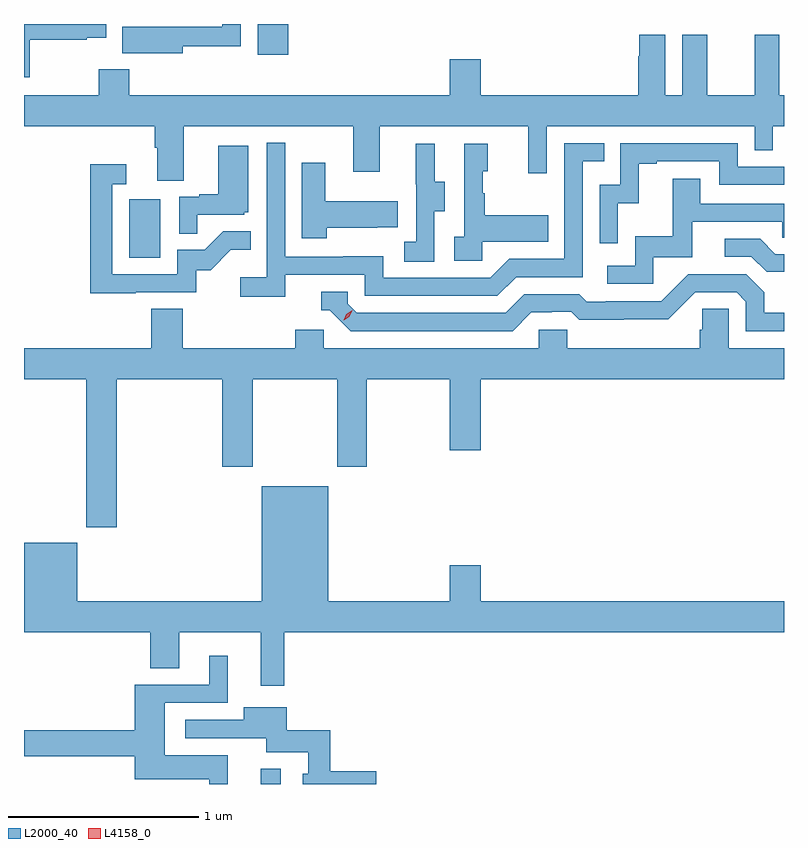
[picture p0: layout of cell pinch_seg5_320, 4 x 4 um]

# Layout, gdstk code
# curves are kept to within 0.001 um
import gdstk
lib = gdstk.Library(unit=1e-6, precision=1e-09)
def R(c, l, rs):  # rectangles x0, y0, x1, y1
    for r in rs: c.add(gdstk.rectangle(r[:2], r[2:], *l))
def P(c, l, *ps):  # polygons
    for p in ps: c.add(gdstk.Polygon(p, *l))
L2000_40 = (2000, 40)
L4158_0 = (4158, 0)

pinch_seg5_320 = lib.new_cell('pinch_seg5_320')
R(pinch_seg5_320, L2000_40, [(943.235,871.946,943.339,872.026), (942.542,874.716,942.706,875.023), (943.217,875.784,943.378,875.946)])
P(pinch_seg5_320, L2000_40, [(942.823,875.83),(943.128,875.83),(943.128,875.946),(943.032,875.946),(943.032,875.931),(942.719,875.931),(942.719,875.932),(942.505,875.932),(942.505,875.792),(942.823,875.792)],
  [(942.019,875.862),(942.317,875.862),(942.317,875.873),(942.42,875.873),(942.42,875.946),(941.988,875.946),(941.988,875.667),(942.019,875.667)],
  [(942.829,875.408),(943.721,875.408),(943.721,875.169),(943.861,875.169),(943.861,875.408),(944.642,875.408),(944.642,875.16),(944.739,875.16),(944.739,875.408),(945.834,875.408),(945.834,875.281),(945.93,875.281),(945.93,875.408),(945.988,875.408),(945.988,875.572),(945.964,875.572),(945.964,875.89),(945.833,875.89),(945.833,875.572),(945.583,875.572),(945.583,875.89),(945.452,875.89),(945.452,875.572),(945.364,875.572),(945.364,875.89),(945.227,875.89),(945.227,875.777),(945.221,875.777),(945.221,875.572),(944.392,875.572),(944.392,875.761),(944.228,875.761),(944.228,875.572),(942.542,875.572),(942.542,875.707),(942.382,875.707),(942.382,875.572),(941.988,875.572),(941.988,875.408),(942.677,875.408),(942.677,875.296),(942.689,875.296),(942.689,875.122),(942.829,875.122)],
  [(943.364,874.626),(943.782,874.626),(943.782,874.515),(944.479,874.515),(944.578,874.614),(944.928,874.614),(944.928,875.223),(945.041,875.223),(945.041,875.319),(944.832,875.319),(944.832,874.71),(944.541,874.71),(944.442,874.611),(943.878,874.611),(943.878,874.723),(943.362,874.722),(943.362,875.32),(943.266,875.32),(943.266,874.612),(943.125,874.612),(943.125,874.51),(943.364,874.51)],
  [(945.114,875.003),(945.224,875.003),(945.224,875.211),(945.319,875.211),(945.319,875.223),(945.648,875.223),(945.648,875.1),(945.988,875.1),(945.988,875.196),(945.744,875.196),(945.744,875.319),(945.126,875.319),(945.126,875.1),(945.018,875.1),(945.018,874.791),(945.114,874.791)],
  [(944.148,874.96),(944.203,874.96),(944.203,875.115),(944.149,875.115),(944.149,875.317),(944.051,875.317),(944.051,875.103),(944.052,875.103),(944.052,874.799),(943.989,874.799),(943.989,874.696),(944.148,874.696)],
  [(944.4,874.799),(944.747,874.799),(944.747,874.939),(944.413,874.939),(944.413,875.054),(944.403,875.054),(944.403,875.172),(944.428,875.172),(944.428,875.317),(944.304,875.317),(944.304,874.826),(944.253,874.826),(944.253,874.701),(944.4,874.701)],
  [(942.899,874.941),(943.146,874.941),(943.146,874.956),(943.168,874.956),(943.168,875.305),(943.01,875.305),(943.01,875.05),(942.911,875.05),(942.911,875.037),(942.804,875.037),(942.804,874.843),(942.899,874.843)],
  [(943.581,874.874),(943.847,874.874),(943.847,874.877),(943.955,874.877),(943.955,875.014),(943.573,875.014),(943.573,875.215),(943.451,875.215),(943.451,874.818),(943.581,874.818)],
  [(942.575,874.533),(942.894,874.533),(942.894,874.65),(942.97,874.65),(943.077,874.757),(943.181,874.757),(943.181,874.856),(943.037,874.856),(942.939,874.758),(942.795,874.758),(942.795,874.629),(942.453,874.629),(942.453,875.103),(942.526,875.103),(942.526,875.209),(942.337,875.209),(942.337,874.528),(942.575,874.528)],
  [(945.3,874.719),(945.505,874.719),(945.505,874.905),(945.979,874.905),(945.979,874.821),(945.988,874.821),(945.988,875.001),(945.547,875.001),(945.547,875.131),(945.403,875.131),(945.403,874.828),(945.204,874.828),(945.204,874.674),(945.057,874.674),(945.057,874.578),(945.3,874.578)],
  [(945.988,874.734),(945.943,874.734),(945.862,874.815),(945.675,874.815),(945.675,874.722),(945.816,874.722),(945.896,874.642),(945.988,874.642)],
  [(944.659,874.428),(944.766,874.428),(944.766,874.431),(944.869,874.431),(944.911,874.389),(945.144,874.389),(945.144,874.391),(945.38,874.391),(945.522,874.533),(945.738,874.533),(945.786,874.485),(945.786,874.329),(945.988,874.329),(945.988,874.425),(945.883,874.425),(945.883,874.535),(945.789,874.629),(945.483,874.629),(945.342,874.488),(945.049,874.488),(945.049,874.485),(944.95,874.485),(944.911,874.524),(944.622,874.524),(944.523,874.425),(943.74,874.425),(943.692,874.473),(943.692,874.536),(943.553,874.536),(943.553,874.44),(943.596,874.44),(943.707,874.329),(944.56,874.329)],
  [(942.476,874.076),(943.031,874.076),(943.031,873.615),(943.191,873.615),(943.191,874.076),(943.636,874.076),(943.636,873.615),(943.791,873.615),(943.791,874.076),(944.228,874.076),(944.228,873.702),(944.392,873.702),(944.392,874.076),(945.988,874.076),(945.988,874.24),(945.696,874.24),(945.696,874.448),(945.559,874.448),(945.559,874.338),(945.545,874.338),(945.545,874.24),(944.847,874.24),(944.847,874.338),(944.697,874.338),(944.697,874.24),(943.566,874.24),(943.566,874.338),(943.415,874.338),(943.415,874.24),(942.824,874.24),(942.824,874.448),(942.659,874.448),(942.659,874.24),(941.988,874.24),(941.988,874.076),(942.316,874.076),(942.316,873.297),(942.476,873.297)],
  [(944.228,873.097),(944.228,872.908),(943.588,872.908),(943.588,873.514),(943.238,873.514),(943.238,872.908),(942.268,872.908),(942.268,873.217),(941.988,873.217),(941.988,872.744),(942.653,872.744),(942.653,872.554),(942.805,872.554),(942.805,872.744),(943.235,872.744),(943.235,872.463),(943.357,872.463),(943.357,872.744),(945.988,872.744),(945.988,872.908),(944.392,872.908),(944.392,873.097)],
  [(943.06,872.098),(942.73,872.098),(942.73,872.373),(943.06,872.373),(943.06,872.62),(942.962,872.62),(942.962,872.469),(942.572,872.469),(942.572,872.228),(941.988,872.228),(941.988,872.092),(942.572,872.092),(942.572,871.97),(942.962,871.97),(942.962,871.946),(943.06,871.946)],
  [(943.843,872.012),(943.601,872.012),(943.601,872.228),(943.372,872.228),(943.372,872.35),(943.145,872.35),(943.145,872.283),(942.837,872.283),(942.837,872.187),(943.262,872.187),(943.262,872.112),(943.484,872.112),(943.484,871.999),(943.454,871.999),(943.454,871.946),(943.843,871.946)])
P(pinch_seg5_320, L4158_0, [(943.67,874.386),(943.67,874.387),(943.685,874.419),(943.715,874.439),(943.716,874.439),(943.716,874.439),(943.7,874.406),(943.67,874.386)])

lib.write_gds('pinch_seg5_320.gds')
